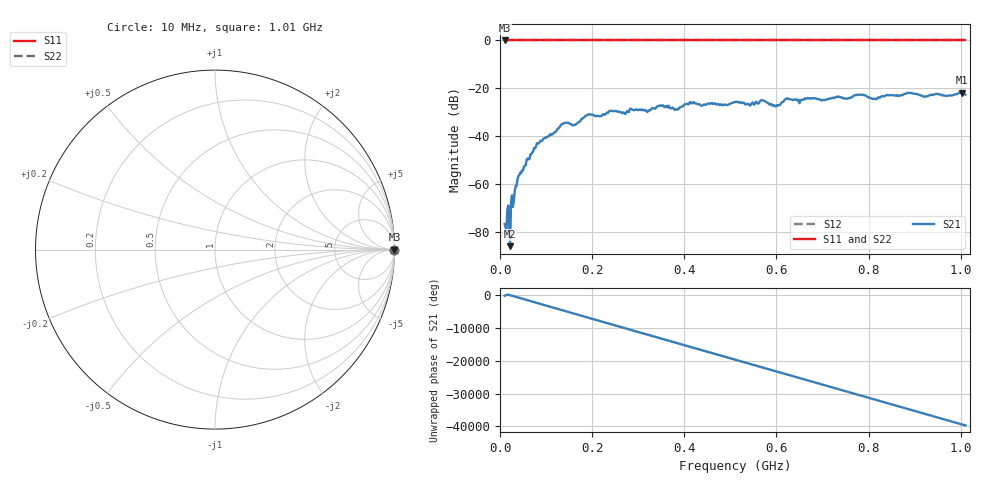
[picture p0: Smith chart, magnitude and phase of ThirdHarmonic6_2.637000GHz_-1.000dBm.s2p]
! 8/17/2025 5:56:09 AM
! C:\ANRITSUVNA\TEMP\TEMP.S2P
! CHANNEL.1
! TR.MEASUREMENT
! RAW.DATA
! RF.CORRECTION.OFF
! AVERAGING.OFF
! IF.BANDWIDTH: 5KHZ
! SWEEPTYPE:  FREQ.SWEEP(Linear)
! Reference Plane Port Info
! PORT:  PORT1  PORT2
! DISTANCE:  0  m  0  m
! TIME:  0  s  0  s
! PHASE.OFFSET:  0  deg.  0  deg.
! LOSS:  0  dB  0  dB
! REF.LOSS:  0  dB  0  dB
! REF.FREQ:  0  Hz  0  Hz
! Power Info
! POWER:  -20  dBm  -20  dBm
! EFF.POWER:  -20  dBm  -20  dBm
! SOURCE.ATTEN:  0  dB  0  dB
! TEST.ATTEN:  0  dB  0  dB
# GHZ S RI R 50.0
! FREQ.GHZ  S11RE  S11IM  S21RE  S21IM  S12RE  S12IM  S22RE  S22IM
!; PortSelection: Port_12
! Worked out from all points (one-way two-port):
!   501 points, 10 MHz to 1.01 GHz, reference 50 ohm
!   highest |S21| = -21.79 dB at 1.002 GHz (marker M1); lowest = -85.9 dB at 22 MHz (marker M2)
!   lowest |S11| = 0.0 dB at 10 MHz (marker M3)
!   |S11| at or under -10 dB: nowhere
!   |S22| runs from 0.0 to 0.0 dB; largest |S21 - S12| = 1.1
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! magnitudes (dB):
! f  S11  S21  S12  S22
! 10 MHz  0.0  -76.7  0.0  0.0
! 14 MHz  0.0  -79.6  0.0  0.0
! 18 MHz  0.0  -68.9  0.0  0.0
! 22 MHz  0.0  -85.9  0.0  0.0
! 24 MHz  0.0  -67.4  0.0  0.0
! 28 MHz  0.0  -69.5  0.0  0.0
! 42 MHz  0.0  -56.2  0.0  0.0
! 78 MHz  0.0  -44.4  0.0  0.0
! 136 MHz  0.0  -34.9  0.0  0.0
! 160 MHz  0.0  -35.2  0.0  0.0
! 178 MHz  0.0  -32.6  0.0  0.0
! 344 MHz  0.0  -27.4  0.0  0.0
! 382 MHz  0.0  -28.7  0.0  0.0
! 416 MHz  0.0  -26.3  0.0  0.0
! 510 MHz  0.0  -25.8  0.0  0.0
! 570 MHz  0.0  -25.1  0.0  0.0
! 596 MHz  0.0  -27.1  0.0  0.0
! 622 MHz  0.0  -24.2  0.0  0.0
! 678 MHz  0.0  -24.2  0.0  0.0
! 844 MHz  0.0  -22.9  0.0  0.0
! 1.002 GHz  0.0  -21.8  0.0  0.0
! 1.01 GHz  0.0  -22.7  0.0  0.0
